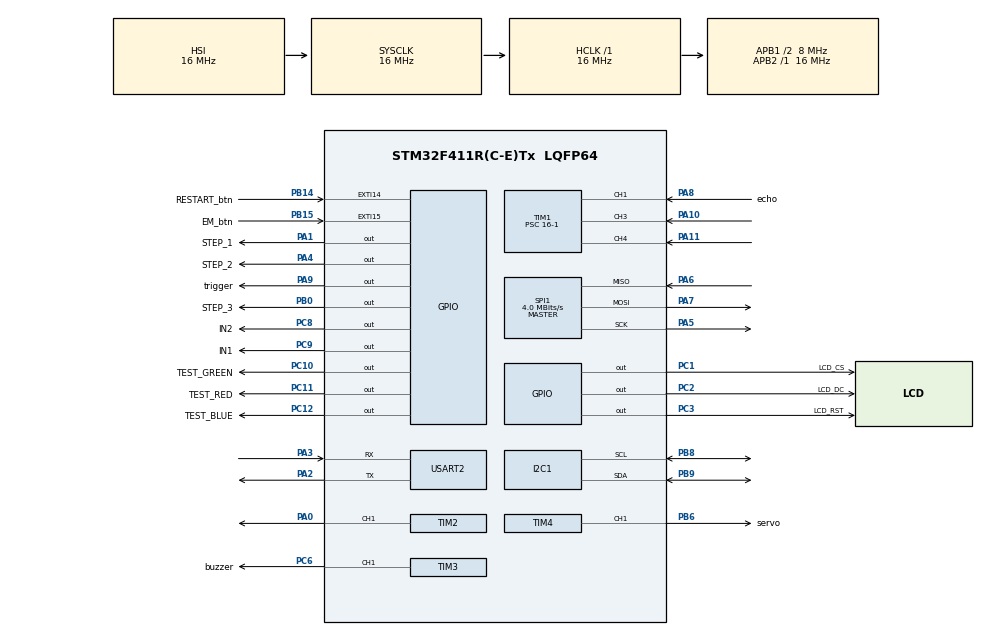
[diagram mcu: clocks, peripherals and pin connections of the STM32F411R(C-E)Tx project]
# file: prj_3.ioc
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Dma.Request0=SPI1_TX
Dma.SPI1_TX.0.Direction=DMA_MEMORY_TO_PERIPH
Dma.SPI1_TX.0.FIFOMode=DMA_FIFOMODE_DISABLE
Dma.SPI1_TX.0.Instance=DMA2_Stream2
Dma.SPI1_TX.0.MemDataAlignment=DMA_MDATAALIGN_BYTE
Dma.SPI1_TX.0.MemInc=DMA_MINC_ENABLE
Dma.SPI1_TX.0.Mode=DMA_NORMAL
Dma.SPI1_TX.0.PeriphDataAlignment=DMA_PDATAALIGN_BYTE
Dma.SPI1_TX.0.PeriphInc=DMA_PINC_DISABLE
Dma.SPI1_TX.0.Priority=DMA_PRIORITY_LOW
Mcu.Family=STM32F4
Mcu.Name=STM32F411R(C-E)Tx
Mcu.Package=LQFP64
NVIC.DMA2_Stream2_IRQn=true\:0\:0\:false\:false\:true\:false\:true\:true
NVIC.EXTI15_10_IRQn=true\:0\:0\:false\:false\:true\:true\:true\:true
NVIC.PriorityGroup=NVIC_PRIORITYGROUP_4
NVIC.SPI1_IRQn=true\:0\:0\:false\:false\:true\:true\:true\:true
NVIC.TIM1_CC_IRQn=true\:0\:0\:false\:false\:true\:true\:true\:true
NVIC.TIM2_IRQn=true\:0\:0\:false\:false\:true\:true\:true\:true
NVIC.TIM4_IRQn=true\:0\:0\:false\:false\:true\:true\:true\:true
NVIC.USART2_IRQn=true\:0\:0\:false\:false\:true\:true\:true\:true
PA0-WKUP.Signal=S_TIM2_CH1_ETR
PA1.GPIO_Label=STEP_1
PA1.Signal=GPIO_Output
PA10.Signal=S_TIM1_CH3
PA11.Signal=S_TIM1_CH4
PA2.Mode=Asynchronous
PA2.Signal=USART2_TX
PA3.Mode=Asynchronous
PA3.Signal=USART2_RX
PA4.GPIO_Label=STEP_2
PA4.Signal=GPIO_Output
PA5.Mode=Full_Duplex_Master
PA5.Signal=SPI1_SCK
PA6.Mode=Full_Duplex_Master
PA6.Signal=SPI1_MISO
PA7.Mode=Full_Duplex_Master
PA7.Signal=SPI1_MOSI
PA8.GPIO_Label=echo
PA8.Signal=S_TIM1_CH1
PA9.GPIO_Label=trigger
PA9.Signal=GPIO_Output
PB0.GPIO_Label=STEP_3
PB0.Signal=GPIO_Output
PB14.GPIO_Label=RESTART_btn
PB14.GPIO_ModeDefaultEXTI=GPIO_MODE_IT_FALLING
PB14.GPIO_PuPd=GPIO_PULLUP
PB14.Signal=GPXTI14
PB15.GPIO_Label=EM_btn
PB15.GPIO_ModeDefaultEXTI=GPIO_MODE_IT_FALLING
PB15.GPIO_PuPd=GPIO_PULLUP
PB15.Signal=GPXTI15
PB6.GPIO_Label=servo
PB6.Signal=S_TIM4_CH1
PB8.Mode=I2C
PB8.Signal=I2C1_SCL
PB9.Mode=I2C
PB9.Signal=I2C1_SDA
PC1.GPIO_Label=LCD_CS
PC1.Signal=GPIO_Output
PC10.GPIO_Label=TEST_GREEN
PC10.Signal=GPIO_Output
PC11.GPIO_Label=TEST_RED
PC11.Signal=GPIO_Output
PC12.GPIO_Label=TEST_BLUE
PC12.Signal=GPIO_Output
PC2.GPIO_Label=LCD_DC
PC2.Signal=GPIO_Output
PC3.GPIO_Label=LCD_RST
PC3.Signal=GPIO_Output
PC6.GPIO_Label=buzzer
PC6.Signal=S_TIM3_CH1
PC8.GPIO_Label=IN2
PC8.Signal=GPIO_Output
PC9.GPIO_Label=IN1
PC9.Signal=GPIO_Output
ProjectManager.HeapSize=0x200
ProjectManager.StackSize=0x400
ProjectManager.TargetToolchain=STM32CubeIDE
RCC.48MHZClocksFreq_Value=32000000
RCC.AHBFreq_Value=16000000
RCC.APB1CLKDivider=RCC_HCLK_DIV2
RCC.APB1Freq_Value=8000000
RCC.APB1TimFreq_Value=16000000
RCC.APB2Freq_Value=16000000
RCC.APB2TimFreq_Value=16000000
RCC.CortexFreq_Value=16000000
RCC.HCLKFreq_Value=16000000
RCC.HSE_VALUE=25000000
RCC.HSI_VALUE=16000000
RCC.LSE_VALUE=32768
RCC.PLLM=8
RCC.PLLN=64
RCC.SYSCLKFreq_VALUE=16000000
RCC.VCOOutputFreq_Value=128000000
SH.S_TIM1_CH1.0=TIM1_CH1,Input_Capture1_from_TI1
SH.S_TIM1_CH3.0=TIM1_CH3,Input_Capture3_from_TI3
SH.S_TIM1_CH4.0=TIM1_CH4,Input_Capture4_from_TI4
SH.S_TIM2_CH1_ETR.0=TIM2_CH1,PWM Generation1 CH1
SH.S_TIM3_CH1.0=TIM3_CH1,PWM Generation1 CH1
SH.S_TIM4_CH1.0=TIM4_CH1,PWM Generation1 CH1
SPI1.BaudRatePrescaler=SPI_BAUDRATEPRESCALER_4
SPI1.CalculateBaudRate=4.0 MBits/s
SPI1.Direction=SPI_DIRECTION_2LINES
SPI1.Mode=SPI_MODE_MASTER
SPI1.VirtualType=VM_MASTER
TIM1.Channel-Input_Capture1_from_TI1=TIM_CHANNEL_1
TIM1.Channel-Input_Capture3_from_TI3=TIM_CHANNEL_3
TIM1.Channel-Input_Capture4_from_TI4=TIM_CHANNEL_4
TIM1.Prescaler=16-1
TIM10.Prescaler=16-1
TIM2.Channel-PWM\ Generation1\ CH1=TIM_CHANNEL_1
TIM2.Period=1000-1
TIM2.Prescaler=16-1
TIM3.Channel-PWM\ Generation1\ CH1=TIM_CHANNEL_1
TIM3.Period=1000-1
TIM3.Prescaler=16-1
TIM3.Pulse-PWM\ Generation1\ CH1=500-1
TIM4.Channel-PWM\ Generation1\ CH1=TIM_CHANNEL_1
TIM4.Period=3000-1
TIM4.Prescaler=16-1
TIM4.Pulse-PWM\ Generation1\ CH1=1500-1
USART2.VirtualMode=VM_ASYNC
VP_TIM10_VS_ClockSourceINT.Mode=Enable_Timer
VP_TIM1_VS_ClockSourceINT.Mode=Internal
VP_TIM2_VS_ClockSourceINT.Mode=Internal
VP_TIM3_VS_ClockSourceINT.Mode=Internal
VP_TIM4_VS_ClockSourceINT.Mode=Internal
board=custom

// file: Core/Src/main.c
/* USER CODE BEGIN Header */
/**
 ******************************************************************************
 * @file           : main.c
 * @brief          : Main program body
 ******************************************************************************
 * @attention
 *
 * Copyright (c) 2024 STMicroelectronics.
 * All rights reserved.
 *
 * This software is licensed under terms that can be found in the LICENSE file
 * in the root directory of this software component.
 * If no LICENSE file comes with this software, it is provided AS-IS.
 *
 ******************************************************************************
 */
/* USER CODE END Header */
#include "main.h"

/* USER CODE BEGIN Includes */
#include "uart.h"
#include "filter.h"
#include <stdio.h>
#include "ILI9341_STM32_Driver.h"
#include "ILI9341_GFX.h"
/* USER CODE END Includes */

I2C_HandleTypeDef hi2c1;

SPI_HandleTypeDef hspi1;
DMA_HandleTypeDef hdma_spi1_tx;

TIM_HandleTypeDef htim1;
TIM_HandleTypeDef htim2;
TIM_HandleTypeDef htim3;
TIM_HandleTypeDef htim4;
TIM_HandleTypeDef htim10;

UART_HandleTypeDef huart2;

void SystemClock_Config(void);
static void MX_GPIO_Init(void);
static void MX_DMA_Init(void);
static void MX_TIM1_Init(void);
static void MX_USART2_UART_Init(void);
static void MX_TIM10_Init(void);
static void MX_I2C1_Init(void);
static void MX_SPI1_Init(void);
static void MX_TIM2_Init(void);
static void MX_TIM4_Init(void);
static void MX_TIM3_Init(void);

/* USER CODE BEGIN 0 */
enum STATE {
	NORMAL, REVERSE, PASS, SLEEP, EM
};
enum EGDE {
	NONE, FALLING_EDGE, RISING_EDGE
};
uint8_t actingflag = NORMAL;
uint8_t reverseflag = 0;
uint8_t restartflag = 0;

void delayUs(uint16_t time) {
	htim10.Instance->CNT = 0;
	while (htim10.Instance->CNT < time)
		;
}

uint32_t IC_Val1 = 0;
uint32_t IC_Val2 = 0;
uint32_t IC_Val3 = 0;
uint32_t IC_Val4 = 0;
uint32_t IC_Val5 = 0;
uint32_t IC_Val6 = 0;
uint32_t Difference1 = 0;
uint8_t IsFirstCaptured1 = 0;
uint32_t Distance1 = 0;
uint32_t Difference3 = 0;
uint8_t IsFirstCaptured3 = 0;
uint32_t Distance3 = 0;
uint32_t Difference4 = 0;
uint8_t IsFirstCaptured4 = 0;
uint32_t Distance4 = 0;
uint8_t flagState = 0;

void HAL_TIM_IC_CaptureCallback(TIM_HandleTypeDef *htim) {
	if (htim->Channel == HAL_TIM_ACTIVE_CHANNEL_1) {
		if (IsFirstCaptured1 == 0 && flagState == 0) {
			IC_Val1 = HAL_TIM_ReadCapturedValue(htim, TIM_CHANNEL_1);
			IsFirstCaptured1 = 1;
			__HAL_TIM_SET_CAPTUREPOLARITY(htim, TIM_CHANNEL_1,
					TIM_INPUTCHANNELPOLARITY_FALLING);
		} else if (IsFirstCaptured1 == 1) {
			IC_Val2 = HAL_TIM_ReadCapturedValue(htim, TIM_CHANNEL_1);
			htim->Instance->CNT = 0;
			if (IC_Val2 > IC_Val1)
				Difference1 = IC_Val2 - IC_Val1;
			else if (IC_Val1 > IC_Val2)
				Difference1 = (0xffff - IC_Val1) + IC_Val2;
			Distance1 = Difference1 * 0.034 / 2;
			IsFirstCaptured1 = 0;
			flagState = 1;

			__HAL_TIM_SET_CAPTUREPOLARITY(htim, TIM_CHANNEL_1,
					TIM_INPUTCHANNELPOLARITY_RISING);
			__HAL_TIM_DISABLE_IT(htim, TIM_IT_CC1);
		}
	}
	if (htim->Channel == HAL_TIM_ACTIVE_CHANNEL_3) {
		if (IsFirstCaptured3 == 0 && flagState == 1) {
			IC_Val3 = HAL_TIM_ReadCapturedValue(htim, TIM_CHANNEL_3);
			IsFirstCaptured3 = 1;
			__HAL_TIM_SET_CAPTUREPOLARITY(htim, TIM_CHANNEL_3,
					TIM_INPUTCHANNELPOLARITY_FALLING);
		} else if (IsFirstCaptured3 == 1) {
			IC_Val4 = HAL_TIM_ReadCapturedValue(htim, TIM_CHANNEL_3);
			htim->Instance->CNT = 0;
			if (IC_Val4 > IC_Val3)
				Difference3 = IC_Val4 - IC_Val3;
			else if (IC_Val3 > IC_Val4)
				Difference3 = (0xffff - IC_Val3) + IC_Val4;
			Distance3 = Difference3 * 0.034 / 2;
			IsFirstCaptured3 = 0;
			flagState = 2;

			__HAL_TIM_SET_CAPTUREPOLARITY(htim, TIM_CHANNEL_3,
					TIM_INPUTCHANNELPOLARITY_RISING);
			__HAL_TIM_DISABLE_IT(htim, TIM_IT_CC3);
		}
	}
	if (htim->Channel == HAL_TIM_ACTIVE_CHANNEL_4) {
		if (IsFirstCaptured4 == 0 && flagState == 2) {
			IC_Val5 = HAL_TIM_ReadCapturedValue(htim, TIM_CHANNEL_4);
			IsFirstCaptured4 = 1;
			__HAL_TIM_SET_CAPTUREPOLARITY(htim, TIM_CHANNEL_4,
					TIM_INPUTCHANNELPOLARITY_FALLING);
		} else if (IsFirstCaptured4 == 1) {
			IC_Val6 = HAL_TIM_ReadCapturedValue(htim, TIM_CHANNEL_4);
			htim->Instance->CNT = 0;
			if (IC_Val6 > IC_Val5)
				Difference4 = IC_Val6 - IC_Val5;
			else if (IC_Val5 > IC_Val6)
				Difference4 = (0xffff - IC_Val5) + IC_Val6;
			Distance4 = Difference4 * 0.034 / 2;
			IsFirstCaptured4 = 0;
			flagState = 0;

			__HAL_TIM_SET_CAPTUREPOLARITY(htim, TIM_CHANNEL_4,
					TIM_INPUTCHANNELPOLARITY_RISING);
			__HAL_TIM_DISABLE_IT(htim, TIM_IT_CC4);
		}
	}
}

uint32_t getDistance1() {
	HAL_GPIO_WritePin(trigger_GPIO_Port, trigger_Pin, 1);
	delayUs(10);
	HAL_GPIO_WritePin(trigger_GPIO_Port, trigger_Pin, 0);

	__HAL_TIM_ENABLE_IT(&htim1, TIM_IT_CC1);
	return Distance1;
}
uint32_t getDistance3() {
	HAL_GPIO_WritePin(trigger_GPIO_Port, trigger_Pin, 1);
	delayUs(10);
	HAL_GPIO_WritePin(trigger_GPIO_Port, trigger_Pin, 0);

	__HAL_TIM_ENABLE_IT(&htim1, TIM_IT_CC3);
	return Distance3;
}
uint32_t getDistance4() {
	HAL_GPIO_WritePin(trigger_GPIO_Port, trigger_Pin, 1);
	delayUs(10);
	HAL_GPIO_WritePin(trigger_GPIO_Port, trigger_Pin, 0);

	__HAL_TIM_ENABLE_IT(&htim1, TIM_IT_CC4);
	return Distance4;
}

int soundLUT[] = { 130, 146, 164, 174, 196, 220, 246, 261 };

void setSound(int freq) {
	htim3.Instance->ARR = 1000000 / freq - 1;
	htim3.Instance->CCR1 = htim3.Instance->ARR / 2;
}
void stopSound() {
	htim3.Instance->CCR1 = 0;
}

typedef struct ultraData {
	uint16_t ultraCH_1;
	uint16_t ultraCH_3;
	uint16_t ultraCH_4;
} ultraData_t;

ultraData_t getDistance() {
	ultraData_t dist;
	dist.ultraCH_1 = getDistance1();
	dist.ultraCH_3 = getDistance3();
	dist.ultraCH_4 = getDistance4();

	return dist;
}

void motorActive() {
	HAL_GPIO_WritePin(IN1_GPIO_Port, IN1_Pin, 1);
	HAL_GPIO_WritePin(IN2_GPIO_Port, IN2_Pin, 0);
	htim2.Instance->CCR1 = 500;
}
void motorStop() {
	htim2.Instance->CCR1 = 0;
	HAL_GPIO_WritePin(IN1_GPIO_Port, IN1_Pin, 0);
	HAL_GPIO_WritePin(IN2_GPIO_Port, IN2_Pin, 0);
}
void ledOff() {
	HAL_GPIO_WritePin(TEST_RED_GPIO_Port, TEST_RED_Pin, 0);
	HAL_GPIO_WritePin(TEST_GREEN_GPIO_Port, TEST_GREEN_Pin, 0);
	HAL_GPIO_WritePin(TEST_BLUE_GPIO_Port, TEST_BLUE_Pin, 0);
}
void ledRedOn() {
	HAL_GPIO_WritePin(TEST_RED_GPIO_Port, TEST_RED_Pin, 1);
}
void ledGreenOn() {
	HAL_GPIO_WritePin(TEST_GREEN_GPIO_Port, TEST_GREEN_Pin, 1);
}
void ledBlueOn() {
	HAL_GPIO_WritePin(TEST_BLUE_GPIO_Port, TEST_BLUE_Pin, 1);
}

uint8_t BCD2Decimal(uint8_t inData) {
	uint8_t upper = inData >> 4;
	uint8_t lower = inData & 0x0f;
	return upper * 10 + lower;
}

uint8_t Decimal2BCD(uint8_t inData) {
	uint8_t upper = inData / 10;
	uint8_t lower = inData % 10;
	return upper << 4 | lower;
}

#define RTC_ADD          0xD0
#define ROM_ADD          0xA0
#define READ               1
#define MagicNumber      0x257fad2e      // random number

// EEPROM Map Table
#define eeMagicNumberBase      0
#define eeMagicNumberSize      4      // 4byte

typedef struct {
	uint8_t year;
	uint8_t month;
	uint8_t date;
	uint8_t day;
	uint8_t hour;
	uint8_t min;
	uint8_t sec;
} DateTime_t;

void setRTC(DateTime_t inData) {
	uint8_t txBuffer[8];
	txBuffer[7] = Decimal2BCD(inData.year);
	txBuffer[6] = Decimal2BCD(inData.month);
	txBuffer[5] = Decimal2BCD(inData.date);
	txBuffer[3] = Decimal2BCD(inData.hour);
	txBuffer[2] = Decimal2BCD(inData.min);
	txBuffer[1] = Decimal2BCD(inData.sec);
	txBuffer[0] = 0;
	HAL_I2C_Master_Transmit(&hi2c1, RTC_ADD, txBuffer, sizeof(txBuffer), 10);
}

DateTime_t getRTC() {
	DateTime_t result;
	uint8_t rxBuffer[7];
	uint8_t address = 0;
	HAL_I2C_Master_Transmit(&hi2c1, RTC_ADD, &address, 1, 10);
	HAL_I2C_Master_Receive(&hi2c1, RTC_ADD | READ, rxBuffer, 7, 10);
	result.year = BCD2Decimal(rxBuffer[6]);
	result.month = BCD2Decimal(rxBuffer[5]);
	result.date = BCD2Decimal(rxBuffer[4]);
	result.day = BCD2Decimal(rxBuffer[3]);
	result.hour = BCD2Decimal(rxBuffer[2]);
	result.min = BCD2Decimal(rxBuffer[1]);
	result.sec = BCD2Decimal(rxBuffer[0]);
	return result;
}

// address : 0 ~ 56 (0x00 ~ 0x37)
/*void writeRAM(uint8_t address, uint8_t data) {
 uint8_t txBuffer[2];
 txBuffer[0] = address - 8;
 txBuffer[1] = data;
 HAL_I2C_Master_Transmit(&hi2c1, RTC_ADD, txBuffer, sizeof(txBuffer), 10);
 }
 */
void writeRAM(uint8_t address, uint8_t data) {
	HAL_I2C_Mem_Write(&hi2c1, RTC_ADD, address, 1, &data, 1, 10);
}
/*
 uint8_t readRAM(uint8_t address) {
 uint8_t result;
 uint8_t address2 = address - 8;
 HAL_I2C_Master_Transmit(&hi2c1, RTC_ADD, &address2, 1, 10);
 HAL_I2C_Master_Receive(&hi2c1, RTC_ADD | READ, &result, 1, 10);
 }*/
uint8_t readRAM(uint8_t address) {
	uint8_t result;
	HAL_I2C_Mem_Read(&hi2c1, RTC_ADD, address, 1, &result, 1, 10);
	return result;
}

void writeEEPROM(uint16_t address, uint8_t data) {
	HAL_I2C_Mem_Write(&hi2c1, ROM_ADD, address, 2, &data, 1, 10);
	HAL_Delay(5);   // data reading delay time : 5ms
}

uint8_t readEEPROM(uint16_t address) {
	uint8_t result;
	HAL_I2C_Mem_Read(&hi2c1, ROM_ADD, address, 2, &result, 1, 10);
	return result;
}

void write2ByteEEPROM(uint16_t address, uint16_t data) {
	HAL_I2C_Mem_Write(&hi2c1, ROM_ADD, address, 2, &data, 2, 10);
	HAL_Delay(10);
}

uint16_t read2ByteEEPROM(uint16_t address) {
	uint16_t result;
	HAL_I2C_Mem_Read(&hi2c1, ROM_ADD, address, 2, &result, 2, 10);
	return result;
}

void write4ByteEEPROM(uint16_t address, uint32_t data) {
	HAL_I2C_Mem_Write(&hi2c1, ROM_ADD, address, 2, &data, 4, 10);
	HAL_Delay(20);
}

uint32_t read4ByteEEPROM(uint16_t address) {
	uint32_t result;
	HAL_I2C_Mem_Read(&hi2c1, ROM_ADD, address, 2, &result, 4, 10);
	return result;
}

int countRTC = 0;
int countLCD_Blink = 0;
int countArrow = 0;
int countMotor = 0;

void SysTickCallback() {// 1mS마다 call
	if (countRTC > 0)
		countRTC--;
	if (countLCD_Blink > 0)
		countLCD_Blink--;
	if (countArrow > 0)
		countArrow--;
	if (countMotor > 0)
		countMotor--;
}
void LCD_BLINK() {
	ILI9341_FillScreen2(BLACK);
	//if(countLCD_Blink == 0)
	//{
	//   countLCD_Blink = 100;
	//}

}

void ILI9341_FillScreen2(uint16_t color) {
	ILI9341_SetAddress(0, 69, LCD_WIDTH, LCD_HEIGHT);
	ILI9341_DrawColorBurst(color, LCD_WIDTH *251);
}

void LCD_DrawArrow(uint8_t num) {
	switch (num) {
	case 0:
		ILI9341_FillScreen2(BLACK);
		ILI9341_DrawFilledRectangleCoord(110, 280, 130, 320, GREEN);
		for (int j = 15; j > 0; j--) {
			ILI9341_DrawFilledRectangleCoord(90 + 2 * j, 282 - 2 * j,
					150 - 2 * j, 280 - 2 * j, GREEN);
			// 180-210
		}
		break;

	case 1:
		ILI9341_FillScreen2(BLACK);
		ILI9341_DrawFilledRectangleCoord(110, 170, 130, 210, GREEN);
		for (int j = 15; j > 0; j--) {
			ILI9341_DrawFilledRectangleCoord(90 + 2 * j, 172 - 2 * j,
					150 - 2 * j, 170 - 2 * j, GREEN);
			// 180-210
		}
		break;
	case 2:
		ILI9341_FillScreen2(BLACK);
		ILI9341_DrawFilledRectangleCoord(110, 100, 130, 140, GREEN);
		for (int j = 15; j > 0; j--) {
			ILI9341_DrawFilledRectangleCoord(90 + 2 * j, 102 - 2 * j,
					150 - 2 * j, 100 - 2 * j, GREEN);
			// 180-210
		}
		break;
	}

}
void LCD_DrawStopSign() {

	ILI9341_FillScreen2(BLACK);
	ILI9341_DrawFilledRectangleCoord(90, 165, 150, 175, RED);
	ILI9341_DrawHollowCircle(120, 170, 60, RED);
	ILI9341_DrawHollowCircle(120, 170, 58, RED);
	ILI9341_DrawHollowCircle(120, 170, 59, RED);
	ILI9341_DrawHollowCircle(120, 170, 55, RED);
	ILI9341_DrawHollowCircle(120, 170, 54, RED);
	ILI9341_DrawHollowCircle(120, 170, 56, RED);
	ILI9341_DrawHollowCircle(120, 170, 57, RED);
}

void normalState() {
	motorActive();
	// 초음?�� 감�? on
	htim4.Instance->CCR1 = 600;
	// ??직이?�� ?��?��?��
	stopSound();
	ledOff();
}
void reverseState() {
	ledRedOn();
	motorStop();
	htim4.Instance->CCR1 = 1500;
	setSound(soundLUT[0]);
	// 초음?�� 감�? off
	LCD_DrawStopSign();
}
void passState() {
	motorActive();
	// 초음?�� 감�?
	// ??직이?�� ?��?��?��
	ledGreenOn();
}
void sleepState() {
	motorStop();
	// 초음?�� 감�? on
	htim4.Instance->CCR1 = 600;
	// �??????만히 ?��?�� ?��?��?��
	ledBlueOn();

}

void EMState() {
	motorStop();
	// 초음?�� 감�? off
	htim4.Instance->CCR1 = 1500;
	LCD_DrawStopSign();
	ledBlueOn();
	ledRedOn();
}
uint8_t motorState = 0;

/* USER CODE END 0 */

int main(void)
{

  /* MCU Configuration--------------------------------------------------------*/

  /* Reset of all peripherals, Initializes the Flash interface and the Systick. */
  HAL_Init();

  /* Configure the system clock */
  SystemClock_Config();

  /* Initialize all configured peripherals */
  MX_GPIO_Init();
  MX_DMA_Init();
  MX_TIM1_Init();
  MX_USART2_UART_Init();
  MX_TIM10_Init();
  MX_I2C1_Init();
  MX_SPI1_Init();
  MX_TIM2_Init();
  MX_TIM4_Init();
  MX_TIM3_Init();
  /* USER CODE BEGIN 2 */
	initUART(&huart2);
	HAL_TIM_Base_Start(&htim10);
	HAL_TIM_IC_Start_IT(&htim1, TIM_CHANNEL_1);
	HAL_TIM_IC_Start_IT(&htim1, TIM_CHANNEL_3);
	HAL_TIM_IC_Start_IT(&htim1, TIM_CHANNEL_4);
	HAL_TIM_PWM_Start(&htim2, TIM_CHANNEL_1);
	HAL_TIM_PWM_Start(&htim3, TIM_CHANNEL_1);
	HAL_TIM_PWM_Start(&htim4, TIM_CHANNEL_1);
	DateTime_t dateTime;
	dateTime.year = 24;
	dateTime.month = 4;
	dateTime.date = 18;
	dateTime.hour = 9;
	dateTime.min = 43;
	dateTime.sec = 0;
	setRTC(dateTime);

	uint8_t num = 0;

	//initUart(&huart2);

	// set up color lcd
	ILI9341_Init();
	ILI9341_SetRotation(SCREEN_VERTICAL_1);
	ILI9341_FillScreen(BLACK);

	// RTC data R/T
	uint8_t address = 0;
	uint8_t buffer[0x40] = { 0, };
	HAL_I2C_Master_Transmit(&hi2c1, 0xd0, &address, 1, 10);
	HAL_I2C_Master_Receive(&hi2c1, 0xd1, buffer, 1, 10);
	buffer[1] = buffer[0] & 0x7f;
	buffer[0] = 0;
	HAL_I2C_Master_Transmit(&hi2c1, 0xd0, buffer, 2, 10);

	stopSound();
	htim4.Instance->CCR1 = 600;
	uint8_t prevCH1, prevCH3;
	uint8_t edge1, edge3;
	uint8_t ch;
	uint8_t strValue[6];

	//LCD_DrawStopSign();
  /* USER CODE END 2 */

  /* Infinite loop */
  /* USER CODE BEGIN WHILE */
	while (1) {
		if (countRTC == 0) {
			countRTC = 1000;
			dateTime = getRTC();
			char str1[30];
			char str2[30];
			sprintf(str1, "20%02d-%02d-%02d", dateTime.year, dateTime.month,
					dateTime.date);
			if(dateTime.hour > 12){
				sprintf(str2, "PM %02d:%02d:%02d", dateTime.hour-12, dateTime.min, dateTime.sec);
			} else
				sprintf(str2, "AM %02d:%02d:%02d", dateTime.hour, dateTime.min, dateTime.sec);

			ILI9341_DrawText(str1, FONT4, 80, 30, WHITE, BLACK);
			ILI9341_DrawText(str2, FONT4, 73, 50, WHITE, BLACK);

		}

		ch = getChar();

		static uint16_t waitCount = 0;
		ultraData_t digitData;
		ultraData_t ultraData;
		uint8_t ledStep;

		if(countMotor == 0){
			countMotor = 20;
			ultraData = getDistance();
			if (ultraData.ultraCH_1 < 10)
				digitData.ultraCH_1 = 1;
			else
				digitData.ultraCH_1 = 0;
			if (ultraData.ultraCH_3 < 10)
				digitData.ultraCH_3 = 1;
			else
				digitData.ultraCH_3 = 0;
			if (ultraData.ultraCH_4 < 10)
				digitData.ultraCH_4 = 1;
			else
				digitData.ultraCH_4 = 0;

			waitCount++;
			if((waitCount % 20) == 0){
				ledStep++;
			}
			if(ledStep == 0){
				HAL_GPIO_WritePin(STEP_3_GPIO_Port, STEP_3_Pin, 0);
				HAL_GPIO_WritePin(STEP_1_GPIO_Port, STEP_1_Pin, 1);
			} else if(ledStep == 1) {
				HAL_GPIO_WritePin(STEP_1_GPIO_Port, STEP_1_Pin, 0);
				HAL_GPIO_WritePin(STEP_2_GPIO_Port, STEP_2_Pin, 1);
			}
			else if(ledStep == 2) {
				HAL_GPIO_WritePin(STEP_2_GPIO_Port, STEP_2_Pin, 0);
				HAL_GPIO_WritePin(STEP_3_GPIO_Port, STEP_3_Pin, 1);
			}
			else if (ledStep > 2){
				ledStep = 0;
			}

			if (prevCH1 != digitData.ultraCH_1) {
				if (digitData.ultraCH_1 == 1)
					edge1 = RISING_EDGE;
				else
					edge1 = FALLING_EDGE;
			} else
				edge1 = NONE;

			if (prevCH3 != digitData.ultraCH_3) {
				if (digitData.ultraCH_3 == 1)
					edge3 = RISING_EDGE;
				else
					edge3 = FALLING_EDGE;
			} else
				edge3 = NONE;

			prevCH1 = digitData.ultraCH_1;
			prevCH3 = digitData.ultraCH_3;

			printf("%d %d %d %d %d\n", digitData.ultraCH_1, digitData.ultraCH_3,
					digitData.ultraCH_4, waitCount, actingflag);
//			printf("%d %d %d\n", digitData.ultraCH_1, digitData.ultraCH_3,
//					digitData.ultraCH_4);
//			printf("%d,%d\n", digitData.ultraCH_1, digitData.ultraCH_3);
		}

		if(restartflag == 1){
			actingflag = NORMAL;
			ILI9341_FillScreen2(BLACK);
			restartflag = 0;
		}

		if ((edge3==RISING_EDGE) && (prevCH1==0)) {
			actingflag = PASS;
		}
		if (edge3==RISING_EDGE) {
			if(prevCH1==1)
			actingflag = REVERSE;
		}

		if (ultraData.ultraCH_4 < 5) waitCount = 0;
		if (waitCount == 1000){
			LCD_DrawArrow(1);
			actingflag = SLEEP;
		}
		if (ch == 'p') {      // pass
			actingflag = PASS;
		}
		if (ch == 'r') {    // reverse
			actingflag = REVERSE;
		}
		if (ch == 'l') {     // sleep
			LCD_DrawArrow(1);
			actingflag = SLEEP;
		}
		if (ch == 'e') {     // EM
			actingflag = EM;
		}
		if (ch == 'n') {    // normal
			ILI9341_FillScreen2(BLACK);
			actingflag = NORMAL;
		}

		if (actingflag == NORMAL) {
			normalState();

		} else if (actingflag == PASS) {
			passState();
			actingflag = NORMAL;
			waitCount = 0;
		} else if (actingflag == REVERSE) {
			reverseState();
			waitCount = 0;
			HAL_Delay(3000);
			ILI9341_FillScreen2(BLACK);
			actingflag = NORMAL;
		} else if (actingflag == SLEEP) {
			sleepState();
			waitCount = 20;
			ultraData = getDistance();
			if (digitData.ultraCH_4 == 1){
				actingflag = NORMAL;
				ILI9341_FillScreen2(BLACK);
				waitCount = 0;
			}

		} else if (actingflag == EM) {
			EMState();
		}

		if (actingflag == PASS && countArrow == 0) {     // pass
			countArrow = 1000;
			LCD_DrawArrow(num % 3);
			num++;
		}
		//if(num > 3) num = 0;

    /* USER CODE END WHILE */

	}
}

void SystemClock_Config(void)
{
  RCC_OscInitTypeDef RCC_OscInitStruct = {0};
  RCC_ClkInitTypeDef RCC_ClkInitStruct = {0};

  /** Configure the main internal regulator output voltage
  */
  __HAL_RCC_PWR_CLK_ENABLE();
  __HAL_PWR_VOLTAGESCALING_CONFIG(PWR_REGULATOR_VOLTAGE_SCALE1);

  /** Initializes the RCC Oscillators according to the specified parameters
  * in the RCC_OscInitTypeDef structure.
  */
  RCC_OscInitStruct.OscillatorType = RCC_OSCILLATORTYPE_HSI;
  RCC_OscInitStruct.HSIState = RCC_HSI_ON;
  RCC_OscInitStruct.HSICalibrationValue = RCC_HSICALIBRATION_DEFAULT;
  RCC_OscInitStruct.PLL.PLLState = RCC_PLL_NONE;
  if (HAL_RCC_OscConfig(&RCC_OscInitStruct) != HAL_OK)
  {
    Error_Handler();
  }

  /** Initializes the CPU, AHB and APB buses clocks
  */
  RCC_ClkInitStruct.ClockType = RCC_CLOCKTYPE_HCLK|RCC_CLOCKTYPE_SYSCLK
                              |RCC_CLOCKTYPE_PCLK1|RCC_CLOCKTYPE_PCLK2;
  RCC_ClkInitStruct.SYSCLKSource = RCC_SYSCLKSOURCE_HSI;
  RCC_ClkInitStruct.AHBCLKDivider = RCC_SYSCLK_DIV1;
  RCC_ClkInitStruct.APB1CLKDivider = RCC_HCLK_DIV2;
  RCC_ClkInitStruct.APB2CLKDivider = RCC_HCLK_DIV1;

  if (HAL_RCC_ClockConfig(&RCC_ClkInitStruct, FLASH_LATENCY_0) != HAL_OK)
  {
    Error_Handler();
  }
}

static void MX_I2C1_Init(void)
{

  hi2c1.Instance = I2C1;
  hi2c1.Init.ClockSpeed = 100000;
  hi2c1.Init.DutyCycle = I2C_DUTYCYCLE_2;
  hi2c1.Init.OwnAddress1 = 0;
  hi2c1.Init.AddressingMode = I2C_ADDRESSINGMODE_7BIT;
  hi2c1.Init.DualAddressMode = I2C_DUALADDRESS_DISABLE;
  hi2c1.Init.OwnAddress2 = 0;
  hi2c1.Init.GeneralCallMode = I2C_GENERALCALL_DISABLE;
  hi2c1.Init.NoStretchMode = I2C_NOSTRETCH_DISABLE;
  if (HAL_I2C_Init(&hi2c1) != HAL_OK)
  {
    Error_Handler();
  }

}

static void MX_SPI1_Init(void)
{

  /* SPI1 parameter configuration*/
  hspi1.Instance = SPI1;
  hspi1.Init.Mode = SPI_MODE_MASTER;
  hspi1.Init.Direction = SPI_DIRECTION_2LINES;
  hspi1.Init.DataSize = SPI_DATASIZE_8BIT;
  hspi1.Init.CLKPolarity = SPI_POLARITY_LOW;
  hspi1.Init.CLKPhase = SPI_PHASE_1EDGE;
  hspi1.Init.NSS = SPI_NSS_SOFT;
  hspi1.Init.BaudRatePrescaler = SPI_BAUDRATEPRESCALER_4;
  hspi1.Init.FirstBit = SPI_FIRSTBIT_MSB;
  hspi1.Init.TIMode = SPI_TIMODE_DISABLE;
  hspi1.Init.CRCCalculation = SPI_CRCCALCULATION_DISABLE;
  hspi1.Init.CRCPolynomial = 10;
  if (HAL_SPI_Init(&hspi1) != HAL_OK)
  {
    Error_Handler();
  }

}

static void MX_TIM1_Init(void)
{

  TIM_ClockConfigTypeDef sClockSourceConfig = {0};
  TIM_MasterConfigTypeDef sMasterConfig = {0};
  TIM_IC_InitTypeDef sConfigIC = {0};

  htim1.Instance = TIM1;
  htim1.Init.Prescaler = 16-1;
  htim1.Init.CounterMode = TIM_COUNTERMODE_UP;
  htim1.Init.Period = 65535;
  htim1.Init.ClockDivision = TIM_CLOCKDIVISION_DIV1;
  htim1.Init.RepetitionCounter = 0;
  htim1.Init.AutoReloadPreload = TIM_AUTORELOAD_PRELOAD_DISABLE;
  if (HAL_TIM_Base_Init(&htim1) != HAL_OK)
  {
    Error_Handler();
  }
  sClockSourceConfig.ClockSource = TIM_CLOCKSOURCE_INTERNAL;
  if (HAL_TIM_ConfigClockSource(&htim1, &sClockSourceConfig) != HAL_OK)
  {
    Error_Handler();
  }
  if (HAL_TIM_IC_Init(&htim1) != HAL_OK)
  {
    Error_Handler();
  }
  sMasterConfig.MasterOutputTrigger = TIM_TRGO_RESET;
  sMasterConfig.MasterSlaveMode = TIM_MASTERSLAVEMODE_DISABLE;
  if (HAL_TIMEx_MasterConfigSynchronization(&htim1, &sMasterConfig) != HAL_OK)
  {
    Error_Handler();
  }
  sConfigIC.ICPolarity = TIM_INPUTCHANNELPOLARITY_RISING;
  sConfigIC.ICSelection = TIM_ICSELECTION_DIRECTTI;
  sConfigIC.ICPrescaler = TIM_ICPSC_DIV1;
  sConfigIC.ICFilter = 0;
  if (HAL_TIM_IC_ConfigChannel(&htim1, &sConfigIC, TIM_CHANNEL_1) != HAL_OK)
  {
    Error_Handler();
  }
  if (HAL_TIM_IC_ConfigChannel(&htim1, &sConfigIC, TIM_CHANNEL_3) != HAL_OK)
  {
    Error_Handler();
  }
  if (HAL_TIM_IC_ConfigChannel(&htim1, &sConfigIC, TIM_CHANNEL_4) != HAL_OK)
  {
    Error_Handler();
  }

}

static void MX_TIM2_Init(void)
{

  TIM_ClockConfigTypeDef sClockSourceConfig = {0};
  TIM_MasterConfigTypeDef sMasterConfig = {0};
  TIM_OC_InitTypeDef sConfigOC = {0};

  htim2.Instance = TIM2;
  htim2.Init.Prescaler = 16-1;
  htim2.Init.CounterMode = TIM_COUNTERMODE_UP;
  htim2.Init.Period = 1000-1;
  htim2.Init.ClockDivision = TIM_CLOCKDIVISION_DIV1;
  htim2.Init.AutoReloadPreload = TIM_AUTORELOAD_PRELOAD_DISABLE;
  if (HAL_TIM_Base_Init(&htim2) != HAL_OK)
  {
    Error_Handler();
  }
  sClockSourceConfig.ClockSource = TIM_CLOCKSOURCE_INTERNAL;
  if (HAL_TIM_ConfigClockSource(&htim2, &sClockSourceConfig) != HAL_OK)
  {
    Error_Handler();
  }
  if (HAL_TIM_PWM_Init(&htim2) != HAL_OK)
  {
    Error_Handler();
  }
  sMasterConfig.MasterOutputTrigger = TIM_TRGO_RESET;
  sMasterConfig.MasterSlaveMode = TIM_MASTERSLAVEMODE_DISABLE;
  if (HAL_TIMEx_MasterConfigSynchronization(&htim2, &sMasterConfig) != HAL_OK)
  {
    Error_Handler();
  }
  sConfigOC.OCMode = TIM_OCMODE_PWM1;
  sConfigOC.Pulse = 0;
  sConfigOC.OCPolarity = TIM_OCPOLARITY_HIGH;
  sConfigOC.OCFastMode = TIM_OCFAST_DISABLE;
  if (HAL_TIM_PWM_ConfigChannel(&htim2, &sConfigOC, TIM_CHANNEL_1) != HAL_OK)
  {
    Error_Handler();
  }
  HAL_TIM_MspPostInit(&htim2);

}

static void MX_TIM3_Init(void)
{

  TIM_ClockConfigTypeDef sClockSourceConfig = {0};
  TIM_MasterConfigTypeDef sMasterConfig = {0};
  TIM_OC_InitTypeDef sConfigOC = {0};

  htim3.Instance = TIM3;
  htim3.Init.Prescaler = 16-1;
  htim3.Init.CounterMode = TIM_COUNTERMODE_UP;
  htim3.Init.Period = 1000-1;
  htim3.Init.ClockDivision = TIM_CLOCKDIVISION_DIV1;
  htim3.Init.AutoReloadPreload = TIM_AUTORELOAD_PRELOAD_DISABLE;
  if (HAL_TIM_Base_Init(&htim3) != HAL_OK)
  {
    Error_Handler();
  }
  sClockSourceConfig.ClockSource = TIM_CLOCKSOURCE_INTERNAL;
  if (HAL_TIM_ConfigClockSource(&htim3, &sClockSourceConfig) != HAL_OK)
  {
    Error_Handler();
  }
  if (HAL_TIM_PWM_Init(&htim3) != HAL_OK)
  {
    Error_Handler();
  }
  sMasterConfig.MasterOutputTrigger = TIM_TRGO_RESET;
  sMasterConfig.MasterSlaveMode = TIM_MASTERSLAVEMODE_DISABLE;
  if (HAL_TIMEx_MasterConfigSynchronization(&htim3, &sMasterConfig) != HAL_OK)
  {
    Error_Handler();
  }
  sConfigOC.OCMode = TIM_OCMODE_PWM1;
  sConfigOC.Pulse = 500-1;
  sConfigOC.OCPolarity = TIM_OCPOLARITY_HIGH;
  sConfigOC.OCFastMode = TIM_OCFAST_DISABLE;
  if (HAL_TIM_PWM_ConfigChannel(&htim3, &sConfigOC, TIM_CHANNEL_1) != HAL_OK)
  {
    Error_Handler();
  }
  HAL_TIM_MspPostInit(&htim3);

}

static void MX_TIM4_Init(void)
{

  TIM_ClockConfigTypeDef sClockSourceConfig = {0};
  TIM_MasterConfigTypeDef sMasterConfig = {0};
  TIM_OC_InitTypeDef sConfigOC = {0};

  htim4.Instance = TIM4;
  htim4.Init.Prescaler = 16-1;
  htim4.Init.CounterMode = TIM_COUNTERMODE_UP;
  htim4.Init.Period = 3000-1;
  htim4.Init.ClockDivision = TIM_CLOCKDIVISION_DIV1;
  htim4.Init.AutoReloadPreload = TIM_AUTORELOAD_PRELOAD_DISABLE;
  if (HAL_TIM_Base_Init(&htim4) != HAL_OK)
  {
    Error_Handler();
  }
  sClockSourceConfig.ClockSource = TIM_CLOCKSOURCE_INTERNAL;
  if (HAL_TIM_ConfigClockSource(&htim4, &sClockSourceConfig) != HAL_OK)
  {
    Error_Handler();
  }
  if (HAL_TIM_PWM_Init(&htim4) != HAL_OK)
  {
    Error_Handler();
  }
  sMasterConfig.MasterOutputTrigger = TIM_TRGO_RESET;
  sMasterConfig.MasterSlaveMode = TIM_MASTERSLAVEMODE_DISABLE;
  if (HAL_TIMEx_MasterConfigSynchronization(&htim4, &sMasterConfig) != HAL_OK)
  {
    Error_Handler();
  }
  sConfigOC.OCMode = TIM_OCMODE_PWM1;
  sConfigOC.Pulse = 1500-1;
  sConfigOC.OCPolarity = TIM_OCPOLARITY_HIGH;
  sConfigOC.OCFastMode = TIM_OCFAST_DISABLE;
  if (HAL_TIM_PWM_ConfigChannel(&htim4, &sConfigOC, TIM_CHANNEL_1) != HAL_OK)
  {
    Error_Handler();
  }
  HAL_TIM_MspPostInit(&htim4);

}

static void MX_TIM10_Init(void)
{

  htim10.Instance = TIM10;
  htim10.Init.Prescaler = 16-1;
  htim10.Init.CounterMode = TIM_COUNTERMODE_UP;
  htim10.Init.Period = 65535;
  htim10.Init.ClockDivision = TIM_CLOCKDIVISION_DIV1;
  htim10.Init.AutoReloadPreload = TIM_AUTORELOAD_PRELOAD_DISABLE;
  if (HAL_TIM_Base_Init(&htim10) != HAL_OK)
  {
    Error_Handler();
  }

}

static void MX_USART2_UART_Init(void)
{

  huart2.Instance = USART2;
  huart2.Init.BaudRate = 115200;
  huart2.Init.WordLength = UART_WORDLENGTH_8B;
  huart2.Init.StopBits = UART_STOPBITS_1;
  huart2.Init.Parity = UART_PARITY_NONE;
  huart2.Init.Mode = UART_MODE_TX_RX;
  huart2.Init.HwFlowCtl = UART_HWCONTROL_NONE;
  huart2.Init.OverSampling = UART_OVERSAMPLING_16;
  if (HAL_UART_Init(&huart2) != HAL_OK)
  {
    Error_Handler();
  }

}

static void MX_DMA_Init(void)
{

  /* DMA controller clock enable */
  __HAL_RCC_DMA2_CLK_ENABLE();

  /* DMA interrupt init */
  /* DMA2_Stream2_IRQn interrupt configuration */
  HAL_NVIC_SetPriority(DMA2_Stream2_IRQn, 0, 0);
  HAL_NVIC_EnableIRQ(DMA2_Stream2_IRQn);

}

static void MX_GPIO_Init(void)
{
  GPIO_InitTypeDef GPIO_InitStruct = {0};

  /* GPIO Ports Clock Enable */
  __HAL_RCC_GPIOC_CLK_ENABLE();
  __HAL_RCC_GPIOA_CLK_ENABLE();
  __HAL_RCC_GPIOB_CLK_ENABLE();

  /*Configure GPIO pin Output Level */
  HAL_GPIO_WritePin(GPIOC, LCD_CS_Pin|LCD_DC_Pin|LCD_RST_Pin|IN2_Pin
                          |IN1_Pin|TEST_GREEN_Pin|TEST_RED_Pin|TEST_BLUE_Pin, GPIO_PIN_RESET);

  /*Configure GPIO pin Output Level */
  HAL_GPIO_WritePin(GPIOA, STEP_1_Pin|STEP_2_Pin|trigger_Pin, GPIO_PIN_RESET);

  /*Configure GPIO pin Output Level */
  HAL_GPIO_WritePin(STEP_3_GPIO_Port, STEP_3_Pin, GPIO_PIN_RESET);

  /*Configure GPIO pins : LCD_CS_Pin LCD_DC_Pin LCD_RST_Pin IN2_Pin
                           IN1_Pin TEST_GREEN_Pin TEST_RED_Pin TEST_BLUE_Pin */
  GPIO_InitStruct.Pin = LCD_CS_Pin|LCD_DC_Pin|LCD_RST_Pin|IN2_Pin
                          |IN1_Pin|TEST_GREEN_Pin|TEST_RED_Pin|TEST_BLUE_Pin;
  GPIO_InitStruct.Mode = GPIO_MODE_OUTPUT_PP;
  GPIO_InitStruct.Pull = GPIO_NOPULL;
  GPIO_InitStruct.Speed = GPIO_SPEED_FREQ_LOW;
  HAL_GPIO_Init(GPIOC, &GPIO_InitStruct);

  /*Configure GPIO pins : STEP_1_Pin STEP_2_Pin trigger_Pin */
  GPIO_InitStruct.Pin = STEP_1_Pin|STEP_2_Pin|trigger_Pin;
  GPIO_InitStruct.Mode = GPIO_MODE_OUTPUT_PP;
  GPIO_InitStruct.Pull = GPIO_NOPULL;
  GPIO_InitStruct.Speed = GPIO_SPEED_FREQ_LOW;
  HAL_GPIO_Init(GPIOA, &GPIO_InitStruct);

  /*Configure GPIO pin : STEP_3_Pin */
  GPIO_InitStruct.Pin = STEP_3_Pin;
  GPIO_InitStruct.Mode = GPIO_MODE_OUTPUT_PP;
  GPIO_InitStruct.Pull = GPIO_NOPULL;
  GPIO_InitStruct.Speed = GPIO_SPEED_FREQ_LOW;
  HAL_GPIO_Init(STEP_3_GPIO_Port, &GPIO_InitStruct);

  /*Configure GPIO pins : RESTART_btn_Pin EM_btn_Pin */
  GPIO_InitStruct.Pin = RESTART_btn_Pin|EM_btn_Pin;
  GPIO_InitStruct.Mode = GPIO_MODE_IT_FALLING;
  GPIO_InitStruct.Pull = GPIO_PULLUP;
  HAL_GPIO_Init(GPIOB, &GPIO_InitStruct);

  /* EXTI interrupt init*/
  HAL_NVIC_SetPriority(EXTI15_10_IRQn, 0, 0);
  HAL_NVIC_EnableIRQ(EXTI15_10_IRQn);

}

/* USER CODE BEGIN 4 */
void HAL_GPIO_EXTI_Callback(uint16_t GPIO_Pin) {
	if (GPIO_Pin == EM_btn_Pin) {
		actingflag = EM;
	}
	if (GPIO_Pin == RESTART_btn_Pin) {
		restartflag = 1;
	}
}
/* USER CODE END 4 */

void Error_Handler(void)
{
	__disable_irq();
	while (1) {
	}
}
